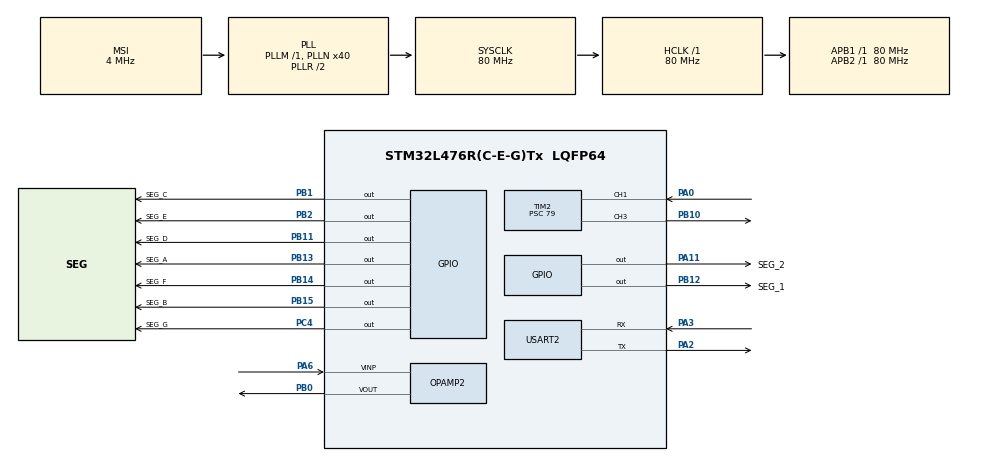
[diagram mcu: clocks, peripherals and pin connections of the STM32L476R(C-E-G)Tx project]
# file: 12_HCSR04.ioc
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ADC1.Channel-1\#ChannelRegularConversion=ADC_CHANNEL_15
ADC1.ContinuousConvMode=ENABLE
ADC1.NbrOfConversionFlag=1
ADC1.OffsetNumber-1\#ChannelRegularConversion=ADC_OFFSET_NONE
ADC1.Overrun=ADC_OVR_DATA_OVERWRITTEN
ADC1.Rank-1\#ChannelRegularConversion=1
ADC1.SamplingTime-1\#ChannelRegularConversion=ADC_SAMPLETIME_640CYCLES_5
ADC1.master=1
Mcu.Family=STM32L4
Mcu.Name=STM32L476R(C-E-G)Tx
Mcu.Package=LQFP64
NVIC.PriorityGroup=NVIC_PRIORITYGROUP_4
NVIC.TIM2_IRQn=true\:9\:0\:true\:false\:true\:true\:true\:true
NVIC.TIM6_DAC_IRQn=true\:10\:0\:true\:false\:true\:true\:true\:true
OPAMP2.PgaGain=OPAMP_PGA_GAIN_4
OPAMP2.PowerSupplyRange=OPAMP_POWERSUPPLY_HIGH
PA0.Signal=S_TIM2_CH1
PA11.GPIO_Label=SEG_2
PA11.GPIO_ModeDefaultOutputPP=GPIO_MODE_OUTPUT_OD
PA11.GPIO_PuPd=GPIO_NOPULL
PA11.PinState=GPIO_PIN_SET
PA11.Signal=GPIO_Output
PA13\ (JTMS-SWDIO).Mode=Serial_Wire
PA13\ (JTMS-SWDIO).Signal=SYS_JTMS-SWDIO
PA14\ (JTCK-SWCLK).Mode=Serial_Wire
PA14\ (JTCK-SWCLK).Signal=SYS_JTCK-SWCLK
PA2.Mode=Asynchronous
PA2.Signal=USART2_TX
PA3.Mode=Asynchronous
PA3.Signal=USART2_RX
PA6.Mode=PGA Not Connected
PA6.Signal=OPAMP2_VINP
PB0.Signal=SharedAnalog_PB0
PB1.GPIO_Label=SEG_C
PB1.Signal=GPIO_Output
PB10.Signal=S_TIM2_CH3
PB11.GPIO_Label=SEG_D
PB11.Signal=GPIO_Output
PB12.GPIO_Label=SEG_1
PB12.GPIO_ModeDefaultOutputPP=GPIO_MODE_OUTPUT_OD
PB12.GPIO_PuPd=GPIO_NOPULL
PB12.PinState=GPIO_PIN_SET
PB12.Signal=GPIO_Output
PB13.GPIO_Label=SEG_A
PB13.Signal=GPIO_Output
PB14.GPIO_Label=SEG_F
PB14.Signal=GPIO_Output
PB15.GPIO_Label=SEG_B
PB15.Signal=GPIO_Output
PB2.GPIO_Label=SEG_E
PB2.Signal=GPIO_Output
PC14-OSC32_IN\ (PC14).Mode=LSE-External-Oscillator
PC14-OSC32_IN\ (PC14).Signal=RCC_OSC32_IN
PC15-OSC32_OUT\ (PC15).Mode=LSE-External-Oscillator
PC15-OSC32_OUT\ (PC15).Signal=RCC_OSC32_OUT
PC4.GPIO_Label=SEG_G
PC4.Signal=GPIO_Output
ProjectManager.HeapSize=0x200
ProjectManager.StackSize=0x400
ProjectManager.TargetToolchain=STM32CubeIDE
RCC.ADCFreq_Value=32000000
RCC.AHBFreq_Value=80000000
RCC.APB1Freq_Value=80000000
RCC.APB1TimFreq_Value=80000000
RCC.APB2Freq_Value=80000000
RCC.APB2TimFreq_Value=80000000
RCC.CortexFreq_Value=80000000
RCC.HCLKFreq_Value=80000000
RCC.HSE_VALUE=8000000
RCC.HSI_VALUE=16000000
RCC.MSI_VALUE=4000000
RCC.PLLN=40
RCC.PLLSAI1N=16
RCC.SYSCLKFreq_VALUE=80000000
RCC.SYSCLKSource=RCC_SYSCLKSOURCE_PLLCLK
RCC.USBFreq_Value=32000000
RCC.VCOOutputFreq_Value=160000000
SH.S_TIM2_CH1.0=TIM2_CH1,Input_Capture1_from_TI1
SH.S_TIM2_CH3.0=TIM2_CH3,PWM Generation3 CH3
SH.SharedAnalog_PB0.0=ADC1_IN15
SH.SharedAnalog_PB0.1=OPAMP2_VOUT,PGA Not Connected
TIM2.Channel-Input_Capture1_from_TI1=TIM_CHANNEL_1
TIM2.Channel-Input_Capture2_from_TI1_63=TIM_CHANNEL_2
TIM2.Channel-PWM\ Generation3\ CH3=TIM_CHANNEL_3
TIM2.ICPolarity_CH1=TIM_INPUTCHANNELPOLARITY_RISING
TIM2.ICPolarity_CH2=TIM_INPUTCHANNELPOLARITY_FALLING
TIM2.Period=99999
TIM2.Prescaler=79
TIM2.Pulse-PWM\ Generation3\ CH3=10
TIM6.Period=99
TIM6.Prescaler=7999
USART2.VirtualMode-Asynchronous=VM_ASYNC
VP_ADC1_OPAMP2_OUT.Mode=IN15-OPAMP2-Single-Ended
VP_TIM2_VS_ClockSourceINT.Mode=Internal
VP_TIM2_VS_indirect_ch1.Mode=Input_Capture2_from_TI1_63
VP_TIM6_VS_ClockSourceINT.Mode=Enable_Timer
board=custom

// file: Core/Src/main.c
/* USER CODE BEGIN Header */
/**
  ******************************************************************************
  * @file           : main.c
  * @brief          : Main program body
  ******************************************************************************
  * @attention
  *
  * Copyright (c) 2024 STMicroelectronics.
  * All rights reserved.
  *
  * This software is licensed under terms that can be found in the LICENSE file
  * in the root directory of this software component.
  * If no LICENSE file comes with this software, it is provided AS-IS.
  *
  ******************************************************************************
  */
/* USER CODE END Header */
#include "main.h"
#include "adc.h"
#include "opamp.h"
#include "tim.h"
#include "usart.h"
#include "gpio.h"

/* USER CODE BEGIN Includes */
#include <stdio.h>
#include "seg7.h"
/* USER CODE END Includes */

void SystemClock_Config(void);

/* USER CODE BEGIN 0 */
float static calc_sound_speed(void) {

	  //Pomiar z przetwornika ADC1:
	  uint32_t adc_value = HAL_ADC_GetValue(&hadc1);
	  //Obliczenie wartosci cyfrowej na napiecie, a nastepnie na temperature:
	  float temp = adc_value * 330.0f / 4096.0f/ 4.0f;
	  //Obliczenie prędkości dzwieku w danej temperaturze:
	  float speed = 331.8f + 0.6f * temp;

	  return speed;

}

int __io_putchar(int ch)
{
  if (ch == '\n') {
    __io_putchar('\r');
  }

  HAL_UART_Transmit(&huart2, (uint8_t*)&ch, 1, HAL_MAX_DELAY);

  return 1;
}

//Procedura obsługi przerwania wywolywanego przez timer TIM6:
void HAL_TIM_PeriodElapsedCallback(TIM_HandleTypeDef *htim) {

	if (htim == &htim6) {

		seg7_update();

	}
	else if (htim == &htim2) {

		uint32_t start = HAL_TIM_ReadCapturedValue(&htim2, TIM_CHANNEL_1);
		uint32_t stop = HAL_TIM_ReadCapturedValue(&htim2, TIM_CHANNEL_2);
		seg7_show((stop-start) * calc_sound_speed() / 20000.0f);

	}

}

/* USER CODE END 0 */

int main(void)
{

  /* MCU Configuration--------------------------------------------------------*/

  /* Reset of all peripherals, Initializes the Flash interface and the Systick. */
  HAL_Init();

  /* Configure the system clock */
  SystemClock_Config();

  /* Initialize all configured peripherals */
  MX_GPIO_Init();
  MX_TIM2_Init();
  MX_USART2_UART_Init();
  MX_TIM6_Init();
  MX_ADC1_Init();
  MX_OPAMP2_Init();
  /* USER CODE BEGIN 2 */

  //Uruchomienie pomiaru dlugosci impulsu zbocza narastajacego na kanale 1 licznika TIM2
  //(czasu od impulsu wyzwalajacego pomiar do rozpoczecia pomiaru):
  HAL_TIM_IC_Start(&htim2, TIM_CHANNEL_1);
  //Uruchomienie pomiaru dlugosci impulsu zbocza opadajacego na kanale 2 licznika TIM2:
  HAL_TIM_IC_Start(&htim2, TIM_CHANNEL_2);
  //Uruchomienie sygnalu PWM na kanale 3 licznika TIM2:
  HAL_TIM_PWM_Start(&htim2, TIM_CHANNEL_3);
  //Uruchomienie timera TIM2 w trybie przerwań (przerwanie od przepelnienia licznika tim2):
  HAL_TIM_Base_Start_IT(&htim2);

  //Uruchomienie timera TIM6 w trybie przerwan
  HAL_TIM_Base_Start_IT(&htim6);

  //int value = 0;

  //HAL_Delay(1000);

  //Kalibracja przetwornika ADC1:
  HAL_ADCEx_Calibration_Start(&hadc1, ADC_SINGLE_ENDED);
  //Rozpoczecie pomiaru napiecia w trybie ciaglym:
  HAL_ADC_Start(&hadc1);

  //Kalibracja wzmacniacza operacyjnego OPAMP2:
  HAL_OPAMP_SelfCalibrate(&hopamp2);
  //Rozpoczecie pomiaru napiecia przez wzmacniacz operacyjny:
  HAL_OPAMP_Start(&hopamp2);

  /* USER CODE END 2 */

  /* Infinite loop */
  /* USER CODE BEGIN WHILE */
  while (1)
  {

	  //Obsługa czujnika HCSR04:
	  /*
	  uint32_t start = HAL_TIM_ReadCapturedValue(&htim2, TIM_CHANNEL_1);
	  uint32_t stop = HAL_TIM_ReadCapturedValue(&htim2, TIM_CHANNEL_2);
	  printf("value = %.1f cm\n", (stop - start) / 58.0);
	  HAL_Delay(1000);
	  */

	  /*
	  //Wyświetlanie liczb na wyswietlaczu 7-segmentowym:
	  for(int i = 0; i < 10; i++) {

		  seg7_show_digit(i);
		  HAL_Delay(500);

	  }
	  */

	  /*
	  //Wyswietlanie liczb na 2 wyswitlaczach 7-segmentowych:
	   seg7_show(value);
	   value++;
	   HAL_Delay(500);
	  */

	  //Pomiar z przetwornika ADC1:
	  //uint32_t adc_value = HAL_ADC_GetValue(&hadc1);
	  //Obliczenie wartosci cyfrowej na napiecie, a nastepnie na temperature:
	  //float temp = adc_value * 330.0f / 4096.0f / 4.0f;
	  //Obliczenie prędkości dzwieku w danej temperaturze:
	  //float speed = 331.8f + 0.6f * temp;
	  //printf("ADC = %lu, T = %.1f C, speed = %.1f m/s\n", adc_value, temp, speed);

	  //HAL_Delay(250);

    /* USER CODE END WHILE */

  }
}

void SystemClock_Config(void)
{
  RCC_OscInitTypeDef RCC_OscInitStruct = {0};
  RCC_ClkInitTypeDef RCC_ClkInitStruct = {0};

  /** Configure the main internal regulator output voltage
  */
  if (HAL_PWREx_ControlVoltageScaling(PWR_REGULATOR_VOLTAGE_SCALE1) != HAL_OK)
  {
    Error_Handler();
  }

  /** Configure LSE Drive Capability
  */
  HAL_PWR_EnableBkUpAccess();
  __HAL_RCC_LSEDRIVE_CONFIG(RCC_LSEDRIVE_LOW);

  /** Initializes the RCC Oscillators according to the specified parameters
  * in the RCC_OscInitTypeDef structure.
  */
  RCC_OscInitStruct.OscillatorType = RCC_OSCILLATORTYPE_LSE|RCC_OSCILLATORTYPE_MSI;
  RCC_OscInitStruct.LSEState = RCC_LSE_ON;
  RCC_OscInitStruct.MSIState = RCC_MSI_ON;
  RCC_OscInitStruct.MSICalibrationValue = 0;
  RCC_OscInitStruct.MSIClockRange = RCC_MSIRANGE_6;
  RCC_OscInitStruct.PLL.PLLState = RCC_PLL_ON;
  RCC_OscInitStruct.PLL.PLLSource = RCC_PLLSOURCE_MSI;
  RCC_OscInitStruct.PLL.PLLM = 1;
  RCC_OscInitStruct.PLL.PLLN = 40;
  RCC_OscInitStruct.PLL.PLLP = RCC_PLLP_DIV7;
  RCC_OscInitStruct.PLL.PLLQ = RCC_PLLQ_DIV2;
  RCC_OscInitStruct.PLL.PLLR = RCC_PLLR_DIV2;
  if (HAL_RCC_OscConfig(&RCC_OscInitStruct) != HAL_OK)
  {
    Error_Handler();
  }

  /** Initializes the CPU, AHB and APB buses clocks
  */
  RCC_ClkInitStruct.ClockType = RCC_CLOCKTYPE_HCLK|RCC_CLOCKTYPE_SYSCLK
                              |RCC_CLOCKTYPE_PCLK1|RCC_CLOCKTYPE_PCLK2;
  RCC_ClkInitStruct.SYSCLKSource = RCC_SYSCLKSOURCE_PLLCLK;
  RCC_ClkInitStruct.AHBCLKDivider = RCC_SYSCLK_DIV1;
  RCC_ClkInitStruct.APB1CLKDivider = RCC_HCLK_DIV1;
  RCC_ClkInitStruct.APB2CLKDivider = RCC_HCLK_DIV1;

  if (HAL_RCC_ClockConfig(&RCC_ClkInitStruct, FLASH_LATENCY_4) != HAL_OK)
  {
    Error_Handler();
  }

  /** Enable MSI Auto calibration
  */
  HAL_RCCEx_EnableMSIPLLMode();
}

void Error_Handler(void)
{
  __disable_irq();
  while (1)
  {
  }
}
